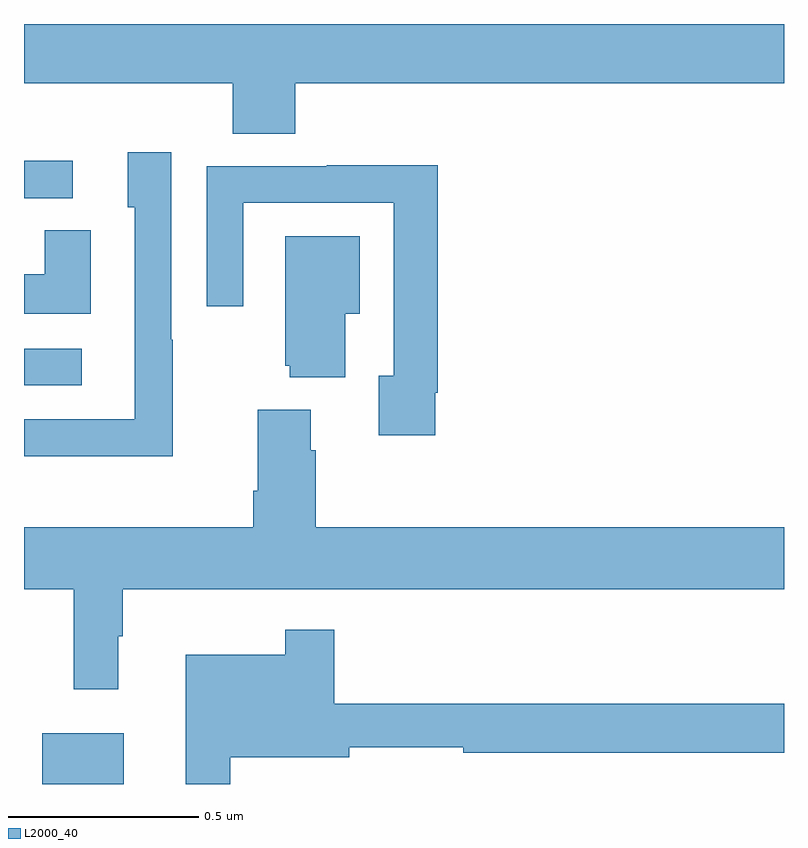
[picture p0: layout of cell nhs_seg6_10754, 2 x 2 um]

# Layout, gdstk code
import gdstk
lib = gdstk.Library(unit=1e-6, precision=1e-09)
def R(c, l, rs):  # rectangles x0, y0, x1, y1
    for r in rs: c.add(gdstk.rectangle(r[:2], r[2:], *l))
def P(c, l, *ps):  # polygons
    for p in ps: c.add(gdstk.Polygon(p, *l))
L2000_40 = (2000, 40)

nhs_seg6_10754 = lib.new_cell('nhs_seg6_10754')
R(nhs_seg6_10754, L2000_40, [(251.048,937.5,251.263,937.633), (251,938.55,251.152,938.646), (251,939.042,251.128,939.14)])
P(nhs_seg6_10754, L2000_40, [(251.714,939.344),(253,939.344),(253,939.5),(251,939.5),(251,939.344),(251.549,939.344),(251.549,939.211),(251.714,939.211)],
  [(251.391,938.669),(251.388,938.669),(251.388,939.163),(251.273,939.163),(251.273,939.018),(251.292,939.018),(251.292,938.46),(251,938.46),(251,938.363),(251.391,938.363)],
  [(252.082,938.53),(252.089,938.53),(252.089,939.128),(251.797,939.128),(251.797,939.126),(251.481,939.126),(251.481,938.757),(251.577,938.757),(251.577,939.03),(251.973,939.03),(251.973,938.574),(251.933,938.574),(251.933,938.418),(252.082,938.418)],
  [(251.176,938.957),(251.055,938.957),(251.055,938.842),(251,938.842),(251,938.738),(251.176,938.738)],
  [(251.845,938.738),(251.884,938.738),(251.884,938.941),(251.687,938.941),(251.687,938.601),(251.699,938.601),(251.699,938.57),(251.845,938.57)],
  [(251.248,937.889),(251.26,937.889),(251.26,938.012),(253,938.012),(253,938.176),(251.768,938.176),(251.768,938.378),(251.755,938.378),(251.755,938.485),(251.615,938.485),(251.615,938.272),(251.603,938.272),(251.603,938.176),(251,938.176),(251,938.012),(251.131,938.012),(251.131,937.749),(251.248,937.749)],
  [(251.543,937.571),(251.856,937.571),(251.856,937.597),(252.156,937.597),(252.156,937.582),(253,937.582),(253,937.711),(251.816,937.711),(251.816,937.906),(251.688,937.906),(251.688,937.84),(251.426,937.84),(251.426,937.5),(251.543,937.5)])

lib.write_gds('nhs_seg6_10754.gds')
